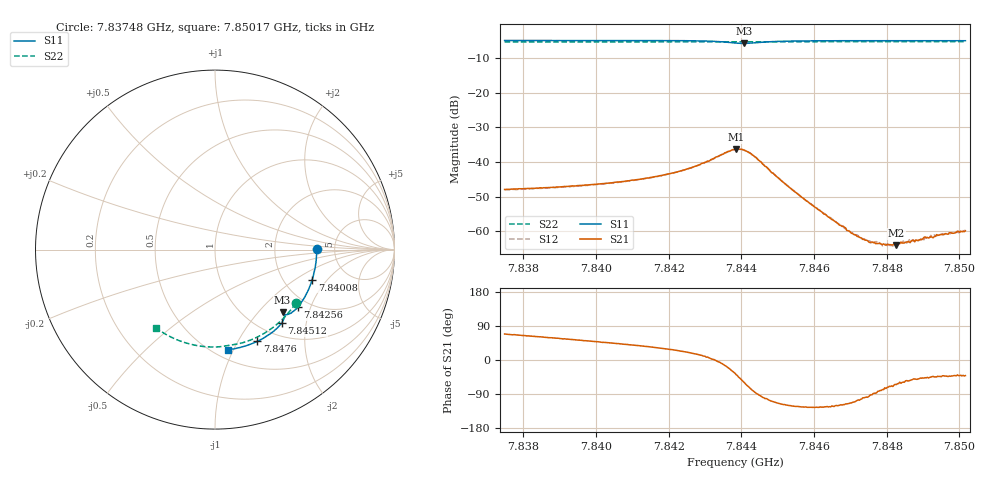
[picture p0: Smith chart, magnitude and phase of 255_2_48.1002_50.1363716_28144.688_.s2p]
#  HZ  S  RI  R  50.00
! Rohde & Schwarz Vector Network Analyzer
! Rohde-Schwarz,ZNB20-2Port,1311601062101988,3.16
! Created: UTC 12/23/2023, 4:00:11 AM
! freq[Hz]  re:S11  im:S11  re:S21  im:S21  re:S12  im:S12  re:S22  im:S22
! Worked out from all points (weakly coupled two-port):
!   401 points, 7.83748 GHz to 7.85017 GHz, reference 50 ohm
!   highest |S21| = -36.30 dB at 7.84386 GHz (marker M1); lowest = -64.1 dB at 7.84827 GHz (marker M2)
!   lowest |S11| = -5.8 dB at 7.84408 GHz (marker M3), VSWR 3.12, Z = 71.9 - j68.5 ohm
!   |S11| at or under -10 dB: nowhere
!   |S22| runs from -5.4 to -5.3 dB; largest |S21 - S12| = 0.00033
!   S11 on the Smith chart (normalised r, x): 7.83748 GHz: 3.61, +0.04; 7.84008 GHz: 2.85, -1.41; 7.84256 GHz: 1.75, -1.63; 7.84512 GHz: 1.24, -1.46; 7.8476 GHz: 0.81, -1.21; 7.85017 GHz: 0.58, -0.95
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7.837481e9  0.5665 0.00412  0.00146 0.00373  0.0015 0.00367  0.4497 -0.2986
7.839606e9  0.5503 -0.1364  0.00283 0.0036  0.00277 0.00356  0.3519 -0.4103
7.840082e9  0.5416 -0.1673  0.00323 0.00356  0.00318 0.00354  0.3258 -0.4314
7.841731e9  0.4963 -0.271  0.00533 0.00332  0.00528 0.0033  0.2272 -0.4914
7.842556e9  0.4619 -0.32  0.00759 0.0027  0.00751 0.00275  0.1732 -0.5128
7.843349e9  0.4128 -0.3589  0.0119 -0.000849  0.0119 -0.000652  0.1193 -0.5271
7.843824e9  0.3788 -0.3585  0.0123 -0.00859  0.0123 -0.00858  0.0874 -0.5319
7.843856e9  0.3774 -0.3571  0.012 -0.00956  0.012 -0.00925  0.0854 -0.5322
7.844078e9  0.3765 -0.3501  0.00754 -0.0127  0.00753 -0.0128  0.0716 -0.5342
7.844237e9  0.3814 -0.351  0.0036 -0.0129  0.00369 -0.013  0.0613 -0.5361
7.844459e9  0.3868 -0.3617  -9.8e-05 -0.0107  -0.000109 -0.0108  0.0467 -0.5386
7.845125e9  0.3723 -0.4074  -0.00234 -0.00466  -0.00235 -0.00472  -8.1e-05 -0.5426
7.84595e9  0.3312 -0.4512  -0.00136 -0.00195  -0.00137 -0.00194  -0.0583 -0.5404
7.846965e9  0.2734 -0.4913  -0.00042 -0.000912  -0.000399 -0.000929  -0.1286 -0.5289
7.847314e9  0.2526 -0.5028  -0.000176 -0.000773  -0.000192 -0.000758  -0.1524 -0.5228
7.847599e9  0.2352 -0.5113  -2.41e-05 -0.000698  -2.91e-05 -0.00072  -0.1717 -0.5169
7.847758e9  0.2254 -0.5157  8.49e-05 -0.000657  8.14e-05 -0.00066  -0.1822 -0.5134
7.847884e9  0.2177 -0.519  0.000134 -0.000629  0.000149 -0.000596  -0.1906 -0.5105
7.848075e9  0.2057 -0.5239  0.000225 -0.000598  0.000197 -0.000592  -0.203 -0.5057
7.848265e9  0.1938 -0.5285  0.000264 -0.000565  0.000297 -0.000595  -0.2154 -0.5009
7.849439e9  0.1185 -0.5501  0.000635 -0.000601  0.000624 -0.000606  -0.2885 -0.4632
7.850168e9  0.0707 -0.558  0.000761 -0.000666  0.000789 -0.000669  -0.3309 -0.4344
